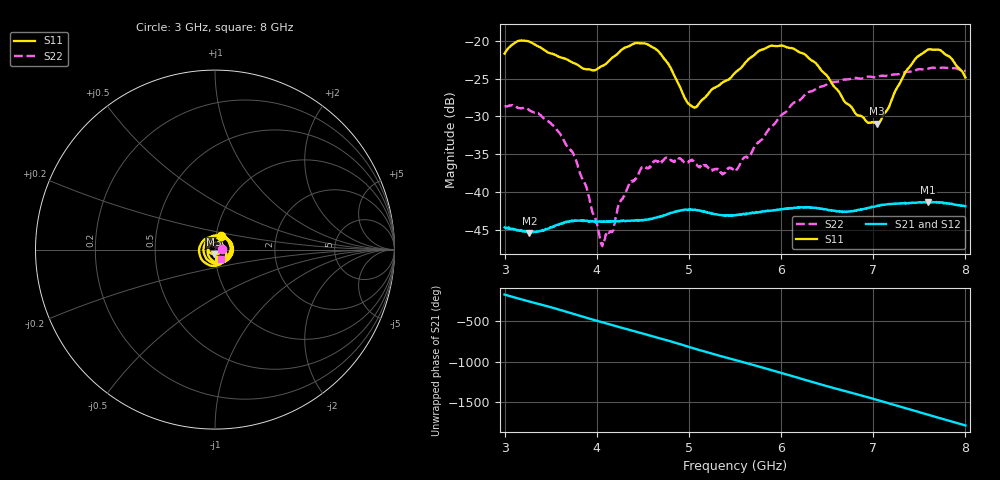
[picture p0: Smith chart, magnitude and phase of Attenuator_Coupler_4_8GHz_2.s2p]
!Keysight Technologies,N5247A,US56070658,Z.10.62.16
!Date: Tuesday, August 15, 2017 17:07:40
!Correction: S11(Full 2 Port(1,2))
!S21(Full 2 Port(1,2))
!S12(Full 2 Port(1,2))
!S22(Full 2 Port(1,2))
!S2P File: Measurements: S11, S21, S12, S22:
# Hz S  dB  R 50
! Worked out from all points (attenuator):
!   1001 points, 3 GHz to 8 GHz, reference 50 ohm
!   highest |S21| = -41.29 dB at 7.595 GHz (marker M1); lowest = -45.4 dB at 3.27 GHz (marker M2)
!   lowest |S11| = -31.0 dB at 7.04 GHz (marker M3), VSWR 1.06, Z = 49.1 - j2.67 ohm
!   |S11| at or under -10 dB: start of sweep to end of sweep
!   |S22| runs from -47.1 to -23.5 dB; largest |S21 - S12| = 0.00013
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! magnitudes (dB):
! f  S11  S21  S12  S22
! 3 GHz  -21.7  -44.7  -44.7  -28.7
! 3.27 GHz  -20.1  -45.4  -45.3  -29.2
! 3.595 GHz  -22.2  -44.2  -44.2  -32.2
! 3.75 GHz  -23.0  -43.8  -43.8  -35.0
! 3.835 GHz  -23.6  -43.7  -43.8  -38.0
! 4.065 GHz  -23.3  -43.9  -43.9  -46.7
! 4.175 GHz  -22.2  -43.9  -43.9  -45.1
! 4.245 GHz  -21.5  -43.9  -43.9  -41.6
! 4.36 GHz  -20.7  -43.8  -43.7  -38.8
! 4.495 GHz  -20.4  -43.7  -43.7  -36.7
! 4.67 GHz  -21.4  -43.3  -43.3  -36.0
! 5.05 GHz  -28.8  -42.3  -42.3  -35.9
! 5.5 GHz  -24.2  -43.1  -43.0  -37.2
! 5.89 GHz  -20.7  -42.4  -42.4  -31.4
! 6.335 GHz  -22.6  -42.1  -42.0  -26.7
! 6.82 GHz  -29.8  -42.4  -42.4  -24.9
! 7.04 GHz  -31.0  -41.8  -41.8  -24.8
! 7.17 GHz  -28.8  -41.6  -41.5  -24.6
! 7.36 GHz  -24.0  -41.5  -41.5  -24.1
! 7.595 GHz  -21.2  -41.3  -41.3  -23.7
! 7.825 GHz  -22.1  -41.5  -41.5  -23.6
! 8 GHz  -24.9  -41.9  -41.9  -24.0
